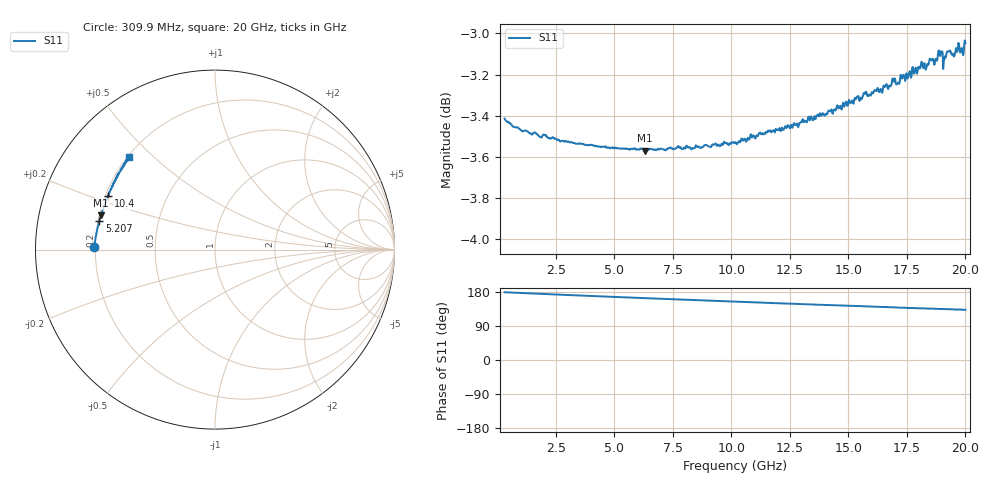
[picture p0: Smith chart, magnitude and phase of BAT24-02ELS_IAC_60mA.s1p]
! Infineon Technologies  Discrete & RF Semiconductors
! BAT24-02ELS
! IAC = 60 mA
! One-Port S-Parameters
# Hz  S  MA  R  50
!f  S11
!Hz  Mag  Ang
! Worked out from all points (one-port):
!   789 points, 309.9 MHz to 20 GHz, reference 50 ohm
!   lowest |S11| = -3.6 dB at 6.307 GHz (marker M1), VSWR 4.93, Z = 10.3 + j7.04 ohm
!   |S11| at or under -10 dB: nowhere
!   S11 on the Smith chart (normalised r, x): 309.9 MHz: 0.19, +0.01; 5.207 GHz: 0.21, +0.12; 10.4 GHz: 0.21, +0.23; 20 GHz: 0.21, +0.42
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3.0985e8  0.675 178.8
2.783612e9  0.6667 172.1
5.2074e9  0.6638 165.9
5.232388e9  0.6637 165.9
6.30685e9  0.663 163.3
7.70615e9  0.6646 159.9
1.015492e10  0.6659 154.0
1.04048e10  0.6667 153.4
1.262869e10  0.6721 148.3
1.370315e10  0.6765 145.9
1.507746e10  0.6808 143.1
1.677661e10  0.6873 139.2
1.695152e10  0.6891 139.0
1.715142e10  0.6887 138.3
1.755122e10  0.6906 137.4
1.82009e10  0.6944 136.2
1.837581e10  0.696 135.7
1.855072e10  0.6974 135.5
1.875062e10  0.6978 135.1
1.895052e10  0.7004 134.8
1.912544e10  0.6989 134.3
1.930035e10  0.7008 134.0
1.950025e10  0.6989 133.5
1.962519e10  0.7018 133.4
1.967516e10  0.7019 133.1
1.982509e10  0.7019 132.9
1.987506e10  0.7008 133.0
2e10  0.7042 132.7
